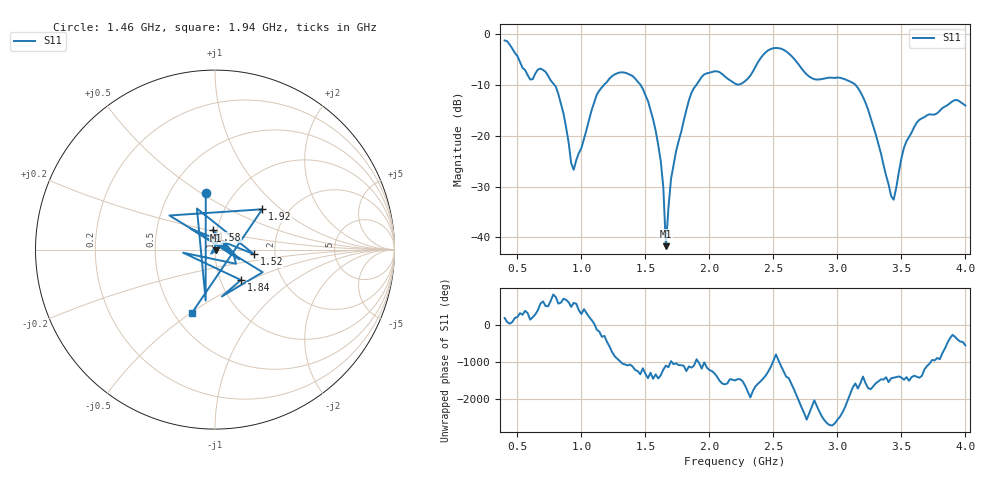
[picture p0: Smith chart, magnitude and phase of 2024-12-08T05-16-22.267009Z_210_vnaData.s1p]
!Created with skrf (http://scikit-rf.org).
# Hz S RI R 50.0
!freq ReS11 ImS11
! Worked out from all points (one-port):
!   181 points, 400 MHz to 4 GHz, reference 50 ohm
!   lowest |S11| = -41.7 dB at 1.66 GHz (marker M1), VSWR 1.02, Z = 50.7 - j0.403 ohm
!   |S11| at or under -10 dB: 788.6 MHz to 1.177 GHz (388.6 MHz wide, 39.5 % of centre); 1.461 GHz to 1.899 GHz (438.1 MHz wide, 26.1 % of centre); 3.141 GHz to end of sweep
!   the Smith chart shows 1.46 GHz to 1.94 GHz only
!   S11 on the Smith chart (normalised r, x): 1.46 GHz: 0.75, +0.52; 1.52 GHz: 1.55, -0.08; 1.58 GHz: 0.95, +0.21; 1.84 GHz: 1.25, -0.45; 1.92 GHz: 1.48, +0.76; 1.94 GHz: 0.61, -0.51
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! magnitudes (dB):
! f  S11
! 400 MHz  -1.3
! 600 MHz  -9.0
! 720 MHz  -7.5
! 860 MHz  -15.6
! 940 MHz  -26.7
! 1.12 GHz  -11.9
! 1.3 GHz  -7.6
! 1.46 GHz  -9.9
! 1.52 GHz  -13.2
! 1.58 GHz  -19.0
! 1.64 GHz  -30.1
! 1.66 GHz  -41.7
! 1.7 GHz  -28.5
! 1.76 GHz  -21.0
! 1.84 GHz  -13.1
! 1.92 GHz  -9.2
! 1.94 GHz  -8.4
! 2.2 GHz  -9.8
! 2.48 GHz  -3.0
! 2.66 GHz  -4.9
! 2.82 GHz  -8.9
! 3.1 GHz  -9.4
! 3.24 GHz  -14.9
! 3.44 GHz  -32.6
! 3.52 GHz  -22.4
! 3.56 GHz  -20.3
! 3.7 GHz  -16.0
! 4 GHz  -14.1
